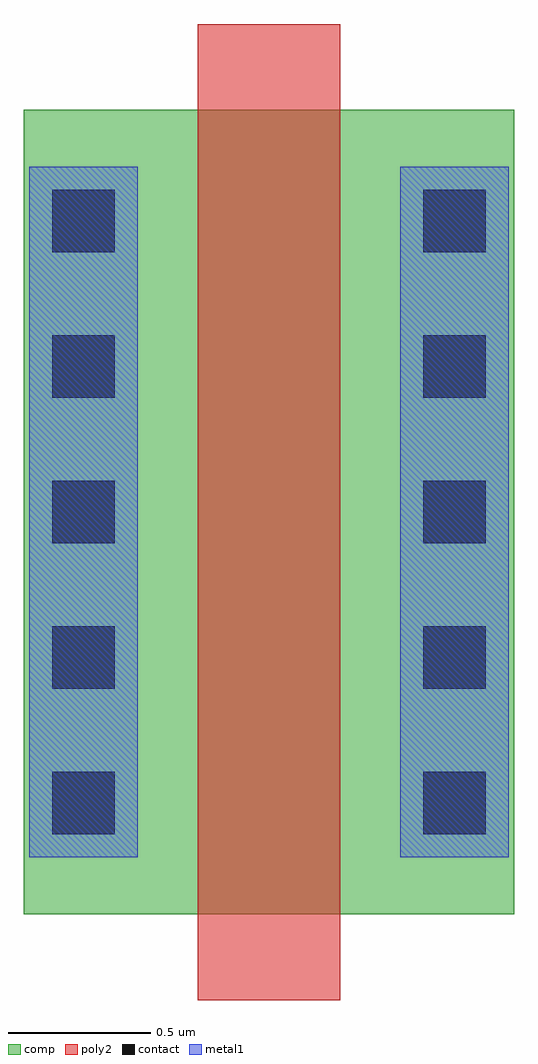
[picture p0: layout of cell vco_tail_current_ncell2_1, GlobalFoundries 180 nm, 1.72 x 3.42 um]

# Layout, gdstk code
import gdstk
lib = gdstk.Library(unit=1e-6, precision=5e-09)
def R(c, l, rs):  # rectangles x0, y0, x1, y1
    for r in rs: c.add(gdstk.rectangle(r[:2], r[2:], *l))
def A(c, l, x, y, w, h, nx, ny, dx, dy):  # array of equal rectangles
    R(c, l, [(x+i*dx, y+j*dy, x+i*dx+w, y+j*dy+h) for i in range(nx) for j in range(ny)])
comp = (22, 0)
poly2 = (30, 0)
contact = (33, 0)
metal1 = (34, 0)

vco_tail_current_ncell2_ = lib.new_cell('vco_tail_current_ncell2_1')
R(vco_tail_current_ncell2_, comp, [(0,0.3,0.42,3.12), (0.42,0.3,1.3,3.12), (1.3,0.3,1.72,3.12)])
R(vco_tail_current_ncell2_, poly2, [(0.61,0,1.11,3.42)])
A(vco_tail_current_ncell2_, contact, 0.1, 0.58, 0.22, 0.22, 1, 5, 0, 0.51)
A(vco_tail_current_ncell2_, contact, 1.4, 0.58, 0.22, 0.22, 1, 5, 0, 0.51)
R(vco_tail_current_ncell2_, metal1, [(0.02,0.5,0.4,2.92), (1.32,0.5,1.7,2.92)])

lib.write_gds('vco_tail_current_ncell2_1.gds')
